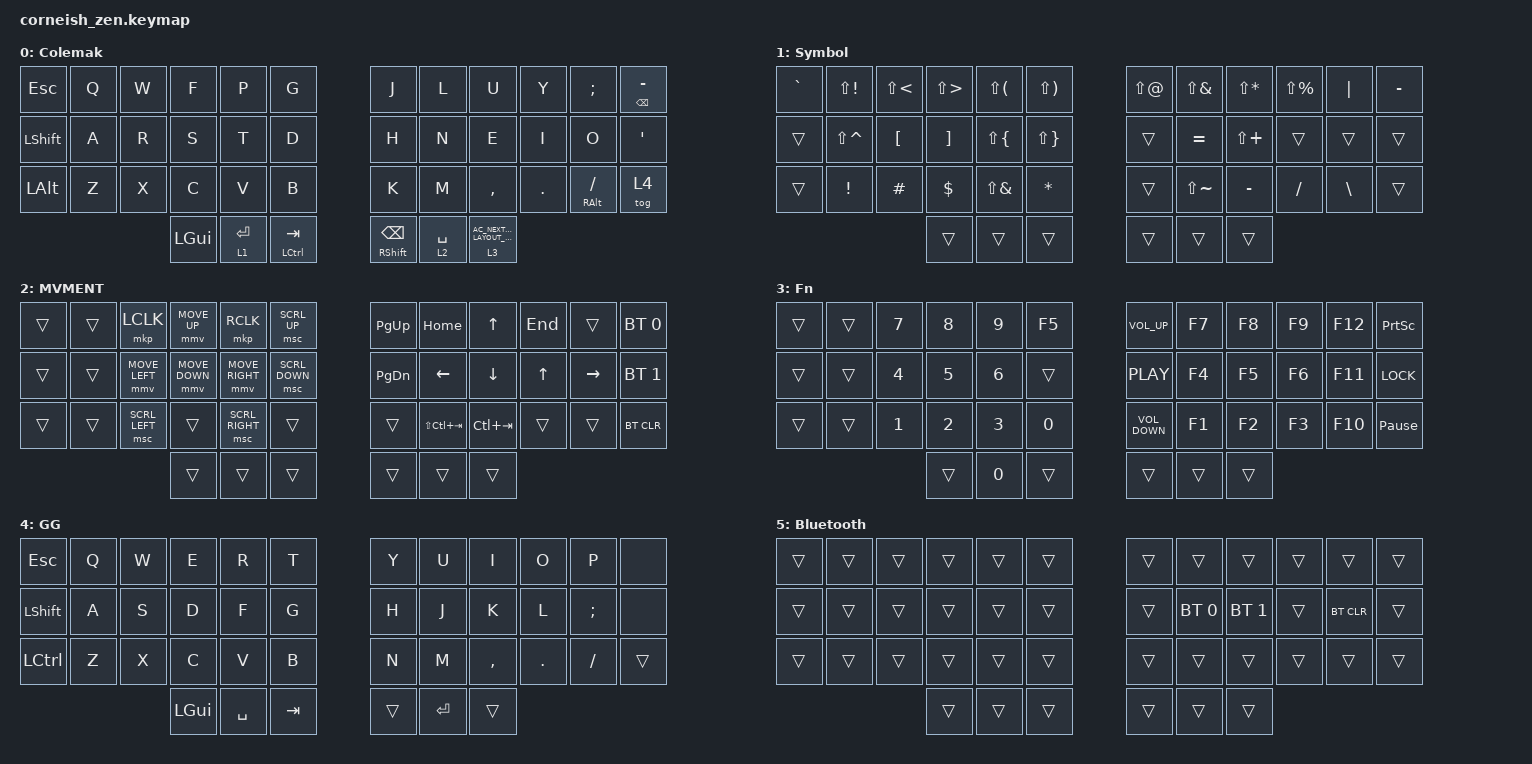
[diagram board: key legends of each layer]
/*
 * Copyright (c) 2020 The ZMK Contributors
 *
 * SPDX-License-Identifier: MIT
 */
//#include <dt-bindings/zmk/mouse.h>

#include "mouse.dtsi"
#include <behaviors.dtsi>
#include <dt-bindings/zmk/bt.h>
#include <dt-bindings/zmk/keys.h>
#include <dt-bindings/zmk/mouse.h>

/ {
    chosen {
        zmk,matrix_transform = &default_transform;

        // zmk,matrix_transform = &five_column_transform;
    };
};

/ {
    behaviors {
        td0: td0 {
            compatible = "zmk,behavior-tap-dance";
            label = "TD0";
            #binding-cells = <0>;
            bindings = <&kp INS>, <&kp CAPS>;
        };

        paren: paren {
            compatible = "zmk,behavior-mod-morph";
            label = "PAREN";
            bindings = <&kp LEFT_PARENTHESIS>, <&kp RIGHT_PARENTHESIS>;

            #binding-cells = <0>;
            mods = <(MOD_LSFT|MOD_RSFT)>;
        };

        bracket: bracket {
            compatible = "zmk,behavior-mod-morph";
            label = "BRACKET";
            bindings = <&kp LEFT_BRACKET>, <&kp RIGHT_BRACKET>;

            #binding-cells = <0>;
            mods = <(MOD_LSFT|MOD_RSFT)>;
        };

        brace: brace {
            compatible = "zmk,behavior-mod-morph";
            label = "BRACE";
            bindings = <&kp LEFT_BRACE>, <&kp RIGHT_BRACE>;

            #binding-cells = <0>;
            mods = <(MOD_LSFT|MOD_RSFT)>;
        };

        ranglelangle: ranglelangle {
            compatible = "zmk,behavior-mod-morph";
            label = "RANGLELANGLE";
            bindings = <&kp LESS_THAN>, <&kp GREATER_THAN>;

            #binding-cells = <0>;
            mods = <(MOD_LSFT|MOD_RSFT)>;
        };

        refderef: refderef {
            compatible = "zmk,behavior-mod-morph";
            label = "REFDEREF";
            bindings = <&kp AMPS>, <&kp ASTERISK>;

            #binding-cells = <0>;
            mods = <(MOD_LSFT|MOD_RSFT)>;
        };

        slash: slash {
            compatible = "zmk,behavior-mod-morph";
            label = "SLASH";
            bindings = <&kp SLASH>, <&kp BACKSLASH>;

            #binding-cells = <0>;
            mods = <(MOD_LSFT|MOD_RSFT)>;
        };

        plusminus: plusminus {
            compatible = "zmk,behavior-mod-morph";
            label = "PLUSMINUS";
            bindings = <&kp PLUS>, <&kp MINUS>;

            #binding-cells = <0>;
            mods = <(MOD_LSFT|MOD_RSFT)>;
        };

        mod_paren: mod_paren {
            compatible = "zmk,behavior-hold-tap";
            label = "MOD_PAREN";
            bindings = <&kp>, <&paren>;

            #binding-cells = <2>;
            tapping-term-ms = <200>;
            flavor = "tap-preferred";
        };

        mod_brace: mod_brace {
            compatible = "zmk,behavior-hold-tap";
            label = "MOD_BRACE";
            bindings = <&kp>, <&brace>;

            #binding-cells = <2>;
            tapping-term-ms = <200>;
            flavor = "tap-preferred";
        };

        mod_bracket: mod_bracket {
            compatible = "zmk,behavior-hold-tap";
            label = "MOD_BRACKET";
            bindings = <&kp>, <&bracket>;

            #binding-cells = <2>;
            tapping-term-ms = <200>;
            flavor = "tap-preferred";
        };

        mod_ranglelangle: mod_ranglelangle {
            compatible = "zmk,behavior-hold-tap";
            label = "MOD_RANGLELANGLE";
            bindings = <&kp>, <&ranglelangle>;

            #binding-cells = <2>;
            tapping-term-ms = <200>;
            flavor = "tap-preferred";
        };

        cmt: cmt {
            compatible = "zmk,behavior-hold-tap";
            label = "Custom Mod Tap";
            bindings = <&kp>, <&kp>;

            #binding-cells = <2>;
            tapping-term-ms = <200>;
            flavor = "tap-preferred";
        };
    };

    combos {
        compatible = "zmk,combos";

        lock {
            bindings = <&tog 4>;
            key-positions = <24 0 5 38>;
            layers = <0 4>;
        };
    };

    keymap {
        compatible = "zmk,keymap";

        default_layer {
            display-name = "Colemak";
            bindings = <
&kp ESC         &kp Q  &kp W  &kp F     &kp P        &kp G            &kp J                      &kp L        &kp U                                   &kp Y    &kp SEMICOLON       &mt BACKSPACE MINUS
&kp LEFT_SHIFT  &kp A  &kp R  &kp S     &kp T        &kp D            &kp H                      &kp N        &kp E                                   &kp I    &kp O               &kp SQT
&kp LEFT_ALT    &kp Z  &kp X  &kp C     &kp V        &kp B            &kp K                      &kp M        &kp COMMA                               &kp DOT  &mt RIGHT_ALT FSLH  &tog 4
                              &kp LGUI  &lt 1 ENTER  &mt LCTRL TAB    &mt RIGHT_SHIFT BACKSPACE  &lt 2 SPACE  &lt 3 C_AC_NEXT_KEYBOARD_LAYOUT_SELECT
            >;
        };

        Symbol {
            bindings = <
&kp GRAVE  &kp LS(EXCL)     &kp LS(LT)  &kp LS(GT)  &kp LS(LPAR)       &kp LS(RPAR)    &kp LS(AT)  &kp LS(AMPS)   &kp LS(STAR)  &kp LS(PRCNT)  &kp PIPE  &kp MINUS
&trans     &kp LS(CARET)    &kp LBKT    &kp RBKT    &kp LS(LBRC)       &kp LS(RBRC)    &trans      &kp EQUAL      &kp LS(PLUS)  &trans         &trans    &trans
&trans     &kp EXCLAMATION  &kp HASH    &kp DOLLAR  &kp LS(AMPERSAND)  &kp ASTERISK    &trans      &kp LS(TILDE)  &kp MINUS     &kp FSLH       &kp BSLH  &trans
                                        &trans      &trans             &trans          &trans      &trans         &trans
            >;

            label = "Symbol";
        };

        mouse {
            display-name = "MVMENT";
            bindings = <
&trans  &trans  &mkp LCLK       &mmv MOVE_UP    &mkp RCLK        &msc SCRL_UP      &kp PG_UP      &kp HOME         &kp UP       &kp END       &trans     &bt BT_SEL 0
&trans  &trans  &mmv MOVE_LEFT  &mmv MOVE_DOWN  &mmv MOVE_RIGHT  &msc SCRL_DOWN    &kp PAGE_DOWN  &kp LEFT         &kp DOWN     &kp UP_ARROW  &kp RIGHT  &bt BT_SEL 1
&trans  &trans  &msc SCRL_LEFT  &trans          &msc SCRL_RIGHT  &trans            &trans         &kp LS(LC(TAB))  &kp LC(TAB)  &trans        &trans     &bt BT_CLR
                                &trans          &trans           &trans            &trans         &trans           &trans
            >;
        };

        fn {
            display-name = "Fn";
            bindings = <
&trans  &trans  &kp N7        &kp N8        &kp N9        &kp F5    &kp C_VOLUME_UP    &kp F7  &kp F8  &kp F9  &kp F12  &kp PRINTSCREEN
&trans  &trans  &kp NUMBER_4  &kp N5        &kp NUMBER_6  &trans    &kp C_PLAY         &kp F4  &kp F5  &kp F6  &kp F11  &kp K_LOCK
&trans  &trans  &kp NUMBER_1  &kp NUMBER_2  &kp NUMBER_3  &kp N0    &kp C_VOLUME_DOWN  &kp F1  &kp F2  &kp F3  &kp F10  &kp PAUSE_BREAK
                              &trans        &kp N0        &trans    &trans             &trans  &trans
            >;
        };

        Gaming {
            bindings = <
&kp ESC    &kp Q  &kp W  &kp E     &kp R      &kp T      &kp Y   &kp U      &kp I      &kp O       &kp P          &none
&kp LSHFT  &kp A  &kp S  &kp D     &kp F      &kp G      &kp H   &kp J      &kp K      &kp L       &kp SEMICOLON  &none
&kp LCTRL  &kp Z  &kp X  &kp C     &kp V      &kp B      &kp N   &kp M      &kp COMMA  &kp PERIOD  &kp SLASH      &trans
                         &kp LGUI  &kp SPACE  &kp TAB    &trans  &kp ENTER  &trans
            >;

            label = "GG";
        };

        Bluetooth {
            bindings = <
&trans  &trans  &trans  &trans  &trans  &trans    &trans  &trans        &trans        &trans  &trans      &trans
&trans  &trans  &trans  &trans  &trans  &trans    &trans  &bt BT_SEL 0  &bt BT_SEL 1  &trans  &bt BT_CLR  &trans
&trans  &trans  &trans  &trans  &trans  &trans    &trans  &trans        &trans        &trans  &trans      &trans
                        &trans  &trans  &trans    &trans  &trans        &trans
            >;
        };
    };

    conditional_layers { compatible = "zmk,conditional-layers"; };
};
